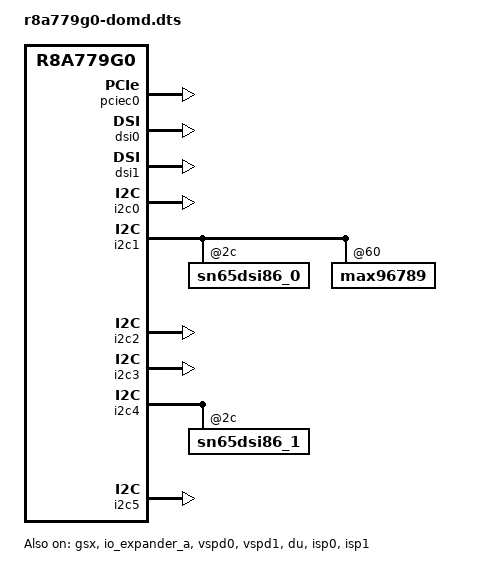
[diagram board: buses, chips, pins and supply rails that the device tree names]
/*
 * The device tree compiler (DTC) is allocating the phandle from 1 to
 * onwards. Reserve a high value for the GIC phandle.
 */
#define PHANDLE_GIC (65000)
#define PHANDLE_ITS (64999)

/ {
	soc {
		/* This must point to Xen interrupt-parent. */
		interrupt-parent = <PHANDLE_GIC>;
		/delete-node/ du0;
		/delete-node/ du_01;
		/delete-node/dsi0 ;
		/delete-node/dsi0_01 ;
		/delete-node/dsi0_02 ;
		/delete-node/dsi0_03 ;
		/delete-node/dsi0_04 ;
		/delete-node/dsi0_05 ;
		/delete-node/dsi0_06 ;
		/delete-node/dsi0_07 ;
		/delete-node/dsi0_08 ;
		/delete-node/dsi1 ;
		/delete-node/dsi1_01 ;
		/delete-node/dsi1_02 ;
		/delete-node/dsi1_03 ;
		/delete-node/dsi1_04 ;
		/delete-node/dsi1_05 ;
		/delete-node/dsi1_06 ;
		/delete-node/dsi1_07 ;
		/delete-node/dsi1_08 ;
	};

	passthrough {
	};

	reserved-memory {
		#address-cells = <2>;
		#size-cells = <2>;
		ranges;
	};
	/*
	 * When creating DT for the guest domain Xen inserts only dummy CPU nodes.
	 * And the number of these inserted CPU nodes is equal to the number of
	 * vCPUs assigned to this domain. All CPU properties which original DT has,
	 * such as OPP, clock, regulator, etc are not passed to the guest’s DT.
	 *
	 * Example of guest vCPU node:
	 *
	 * cpu@0 {
	 *     device_type = "cpu";
	 *     compatible = "arm,armv8";
	 *     enable-method = "psci";
	 *     reg = <0x0>;
	 * };
	 *
	 * This results in the fact that all features expecting a57_x or a53_x
	 * CPU nodes to be present get broken. This is why we have to explicitly
	 * remove the following.
	 */
	/*
	 * Remove interrupts-extended node from guest domain
	 * as it can not be shared by Xen.
	 */
	pmu_a76 {
		/delete-property/interrupts-extended;
	};

};

/delete-node/ &vdsp0_region;

/delete-node/ &vdsp1_region;

/delete-node/ &vdsp2_region;

/delete-node/ &vdsp3_region;

/delete-node/ &pap_region;

/delete-node/ &cr_region;

/delete-node/ &region_40bit;

/ {
	/delete-node/ cmem;

	reserved-memory {
		linux,cma@80000000 {
			compatible = "shared-dma-pool";
			reusable;
			reg = <0x00000000 0x90000000 0x0 0x30000000>;
			//        0x0000000040000000-0x00000000bfffffff
			linux,cma-default;
		};
	};
};

&gsx {
	status = "okay";
};
&gic {
	compatible = "";
	status = "disabled";
};

&gpio0 {
	status = "okay";
};

&gpio1 {
	status = "okay";
};

&gpio2 {
	status = "okay";
};

&gpio3 {
	status = "okay";
};

&gpio4 {
	status = "okay";
};

&gpio5 {
	status = "okay";
};

&gpio6 {
	status = "okay";
};

&gpio7 {
	status = "okay";
};
&gpio8 {
	status = "okay";
};

&canfd {
	status = "disabled";
};

&io_expander_a {
	status = "okay";
};

&tsc {
	status = "disabled";
};

&pciec0 {
	status = "okay";
	ranges = <0x82000000 0 0x30000000 0 0x30000000 0 0x8000000>;
	msi-map = <0x0 PHANDLE_ITS 0x0 0x1000>;
};

/* Xen serial consoles */
&scif3	{
	status = "disabled";
};

&hscif0	{
	status = "disabled";
};

&dmac0 {
	/delete-property/iommus;
};

&dmac1 {
	/delete-property/iommus;
};

&rt_dmac0  {
	/delete-property/iommus;
};

&rt_dmac1  {
	/delete-property/iommus;
};

&rt_dmac2  {
	/delete-property/iommus;
};

&rt_dmac3  {
	/delete-property/iommus;
};

&ipmmu_mm {
	status = "disabled";
};

&ipmmu_rt0 {
	status = "disabled";
};

&ipmmu_rt1 {
	status = "disabled";
};


&ipmmu_ds0{
	status = "disabled";
};

&ipmmu_hc {
	status = "disabled";
};

&vspd0 {
	status = "okay";
};

&vspd1 {
	status = "okay";
};

&du {
	status = "okay";
};

&dsc {
	status = "disabled";
};

&dsi0 {
	status = "okay";
};

&dsi1 {
	status = "okay";
};

&i2c0 {
	status = "okay";
};

&i2c1 {
	status = "okay";
	sn65dsi86_0@2c {
		status = "okay";
	};
	max96789@60 {
		status = "okay";
	};

};

&i2c2 {
	status = "okay";
};

&i2c3 {
	status = "okay";
};

&i2c4 {
	status = "okay";
	sn65dsi86_1@2c {
		status = "okay";
	};
};

&i2c5 {
	status = "okay";
};

&isp0 {
	status = "okay";
};

&isp1 {
	status = "okay";
};

&vin00          { status = "disabled";};
&vin01          { status = "disabled";};
&vin02          { status = "disabled";};
&vin03          { status = "disabled";};
&vin10          { status = "disabled";};
&vin11          { status = "disabled";};
&vin12          { status = "disabled";};
&vin13          { status = "disabled";};
&csi40		   	{ status = "disabled";};
&csi41		   	{ status = "disabled";};

&gmsl0 {
	status = "disabled";
};

&gmsl1 {
	status = "disabled";
};
